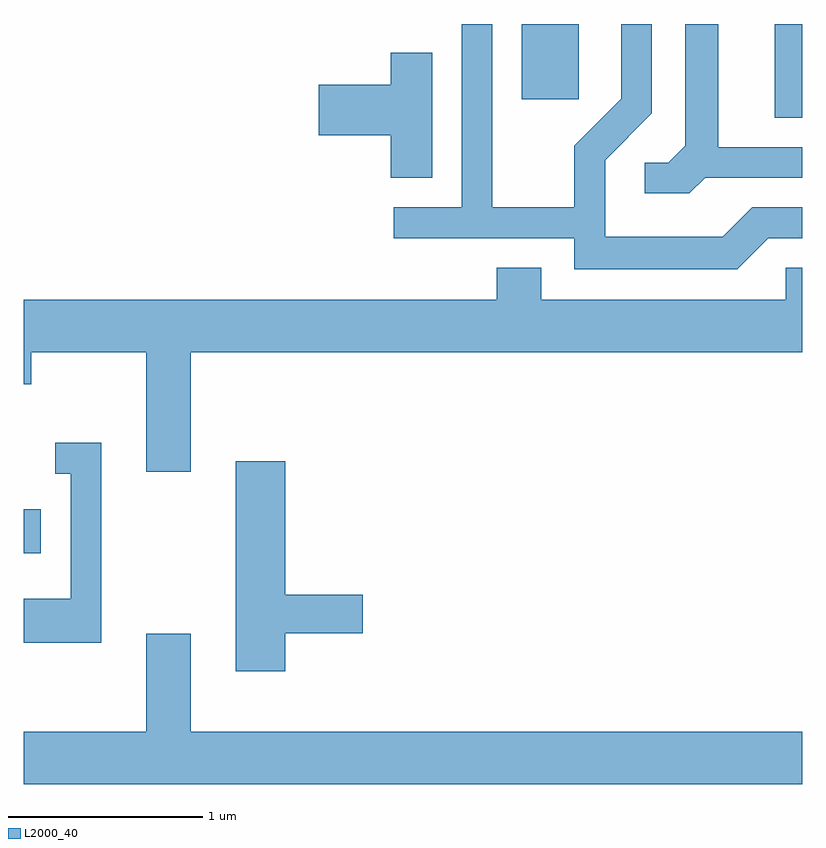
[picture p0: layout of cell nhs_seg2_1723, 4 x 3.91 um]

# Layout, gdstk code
import gdstk
lib = gdstk.Library(unit=1e-6, precision=1e-09)
def R(c, l, rs):  # rectangles x0, y0, x1, y1
    for r in rs: c.add(gdstk.rectangle(r[:2], r[2:], *l))
def P(c, l, *ps):  # polygons
    for p in ps: c.add(gdstk.Polygon(p, *l))
L2000_40 = (2000, 40)

nhs_seg2_1723 = lib.new_cell('nhs_seg2_1723')
R(nhs_seg2_1723, L2000_40, [(235.611,1025.081,235.699,1025.309), (239.471,1027.321,239.611,1027.802), (238.171,1027.416,238.464,1027.802)])
P(nhs_seg2_1723, L2000_40, [(239.112,1027.011),(239.611,1027.011),(239.611,1027.169),(239.179,1027.169),(239.179,1027.802),(239.011,1027.802),(239.011,1027.177),(238.924,1027.089),(238.803,1027.089),(238.803,1026.931),(239.032,1026.931)],
  [(239.437,1026.701),(239.611,1026.701),(239.611,1026.859),(239.354,1026.859),(239.204,1026.709),(238.599,1026.709),(238.599,1027.103),(238.839,1027.344),(238.839,1027.802),(238.681,1027.802),(238.681,1027.417),(238.441,1027.177),(238.441,1026.859),(238.019,1026.859),(238.019,1027.802),(237.861,1027.802),(237.861,1026.859),(237.513,1026.859),(237.513,1026.701),(238.441,1026.701),(238.441,1026.541),(239.277,1026.541)],
  [(237.709,1027.654),(237.496,1027.654),(237.496,1027.489),(237.126,1027.489),(237.126,1027.231),(237.496,1027.231),(237.496,1027.011),(237.709,1027.011)],
  [(236.469,1026.116),(239.611,1026.116),(239.611,1026.549),(239.526,1026.549),(239.526,1026.384),(238.269,1026.384),(238.269,1026.549),(238.041,1026.549),(238.041,1026.384),(235.611,1026.384),(235.611,1025.951),(235.649,1025.951),(235.649,1026.116),(236.241,1026.116),(236.241,1025.501),(236.469,1025.501)],
  [(236.009,1025.649),(235.773,1025.649),(235.773,1025.491),(235.851,1025.491),(235.851,1024.849),(235.611,1024.849),(235.611,1024.621),(236.009,1024.621)],
  [(236.954,1024.671),(237.354,1024.671),(237.354,1024.869),(236.954,1024.869),(236.954,1025.554),(236.701,1025.554),(236.701,1024.476),(236.954,1024.476)],
  [(239.611,1024.164),(236.469,1024.164),(236.469,1024.669),(236.241,1024.669),(236.241,1024.164),(235.611,1024.164),(235.611,1023.896),(239.611,1023.896)])

lib.write_gds('nhs_seg2_1723.gds')
